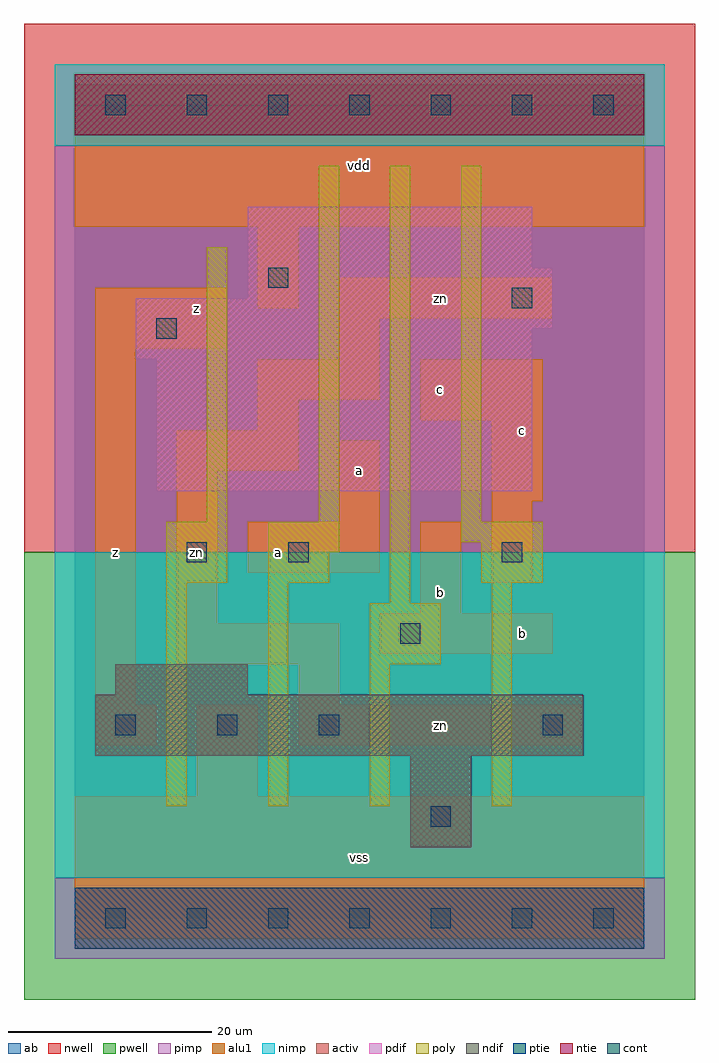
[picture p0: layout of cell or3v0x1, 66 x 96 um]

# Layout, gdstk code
import gdstk
lib = gdstk.Library(unit=1e-6, precision=1e-09)
def R(c, l, rs):  # rectangles x0, y0, x1, y1
    for r in rs: c.add(gdstk.rectangle(r[:2], r[2:], *l))
def A(c, l, x, y, w, h, nx, ny, dx, dy):  # array of equal rectangles
    R(c, l, [(x+i*dx, y+j*dy, x+i*dx+w, y+j*dy+h) for i in range(nx) for j in range(ny)])
ndif = (3, 0)
pdif = (4, 0)
ntie = (5, 0)
ptie = (6, 0)
cont = (25, 0)
pwell = (41, 0)
nwell = (42, 0)
activ = (43, 0)
pimp = (44, 0)
nimp = (45, 0)
poly = (46, 0)
alu1 = (49, 0)
ab = (63, 0)

or3v0x1 = lib.new_cell('or3v0x1')
R(or3v0x1, ndif, [(33,7,39,16), (2,16,50,22), (4,22,17,25)])
R(or3v0x1, pdif, [(8,42,45,55), (6,55,45,58), (6,58,47,61), (17,61,47,64), (17,64,45,70)])
R(or3v0x1, ntie, [(0,77,56,83)])
R(or3v0x1, ptie, [(0,-3,56,3)])
A(or3v0x1, cont, 3, -1, 2, 2, 7, 2, 8, 80)
A(or3v0x1, cont, 4, 18, 2, 2, 3, 1, 10, 0)
R(or3v0x1, cont, [(35,9,37,11), (46,18,48,20), (32,27,34,29), (11,35,13,37), (21,35,23,37), (42,35,44,37), (8,57,10,59), (43,60,45,62), (19,62,21,64)])
R(or3v0x1, pwell, [(-5,-8,61,36)])
R(or3v0x1, nwell, [(-5,36,61,88)])
R(or3v0x1, activ, [(0,-3,56,3), (33,7,39,16), (2,16,50,22), (4,22,17,25), (8,42,45,55), (6,55,45,58), (6,58,47,61), (17,61,47,64), (17,64,45,70), (0,77,56,83)])
R(or3v0x1, pimp, [(-2,-4,58,4), (-2,36,58,76)])
R(or3v0x1, nimp, [(-2,4,58,36), (-2,76,58,84)])
R(or3v0x1, poly, [(9,11,11,33), (19,11,21,33), (29,11,31,25), (41,11,43,33), (29,25,36,31), (31,31,33,74), (9,33,15,39), (19,33,25,36), (40,33,46,37), (19,36,26,39), (38,37,46,39), (13,39,15,66), (24,39,26,74), (38,39,40,74)])
R(or3v0x1, alu1, [(0,-2,56,12), (12,12,18,21), (2,17,8,21), (22,17,50,21), (2,21,6,56), (22,21,26,25), (10,25,26,29), (30,26,47,30), (10,29,14,44), (34,30,38,39), (41,33,45,41), (17,34,30,39), (26,39,30,47), (41,41,46,49), (10,44,22,48), (18,48,22,51), (34,49,46,55), (18,51,30,55), (26,55,30,59), (2,56,15,62), (26,59,47,63), (18,60,22,68), (0,68,56,82)])
R(or3v0x1, ab, [(0,0,56,80)])
or3v0x1.add(gdstk.Label('zn', (12,36), layer=49, texttype=0))
or3v0x1.add(gdstk.Label('zn', (36,19), layer=49, texttype=0))
or3v0x1.add(gdstk.Label('zn', (36,61), layer=49, texttype=0))
or3v0x1.add(gdstk.Label('z', (4,36), layer=49, texttype=0))
or3v0x1.add(gdstk.Label('a', (20,36), layer=49, texttype=0))
or3v0x1.add(gdstk.Label('z', (12,60), layer=49, texttype=0))
or3v0x1.add(gdstk.Label('vss', (28,6), layer=49, texttype=0))
or3v0x1.add(gdstk.Label('b', (36,32), layer=49, texttype=0))
or3v0x1.add(gdstk.Label('a', (28,44), layer=49, texttype=0))
or3v0x1.add(gdstk.Label('c', (36,52), layer=49, texttype=0))
or3v0x1.add(gdstk.Label('vdd', (28,74), layer=49, texttype=0))
or3v0x1.add(gdstk.Label('b', (44,28), layer=49, texttype=0))
or3v0x1.add(gdstk.Label('c', (44,48), layer=49, texttype=0))

lib.write_gds('or3v0x1.gds')
